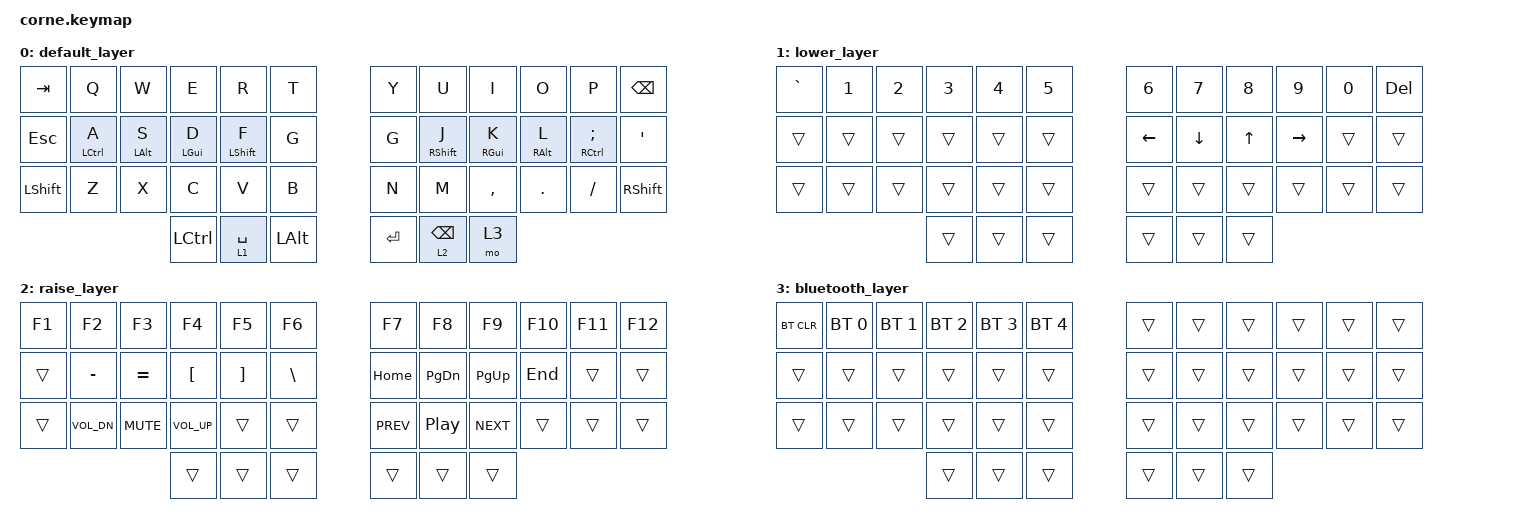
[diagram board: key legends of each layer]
#include <behaviors.dtsi>
#include <dt-bindings/zmk/keys.h>
#include <dt-bindings/zmk/bt.h>

/ {
    keymap {
        compatible = "zmk,keymap";

        default_layer {
            compatible = "zmk,keymap-layer";
            bindings = <
// -----------------------------------------------------------------------------------------
// |  TAB  |  Q  |  W  |  E  |  R  |  T  |   |  Y  |  U  |  I  |  O  |  P  | BSPC  |
// |  ESC  |  A  |  S  |  D  |  F  |  G  |   |  H  |  J  |  K  |  L  |  ;  |  '    |
// | SHIFT |  Z  |  X  |  C  |  V  |  B  |   |  N  |  M  |  ,  |  .  |  /  | SHIFT |
//                    | CTRL | LWR/SPC | ALT |   | ENT | RSHF| GUI |
&kp TAB   &kp Q        &kp W        &kp E         &kp R         &kp T             &kp Y         &kp U         &kp I         &kp O        &kp P           &kp BSPC
&kp ESC   &mt LCTRL A  &mt LALT S   &mt LGUI D    &mt LSHFT F   &kp G             &kp G         &mt RSHFT J   &mt RGUI K    &mt RALT L   &mt RCTRL SEMI  &kp SQT
&kp LSHFT &kp Z        &kp X        &kp C         &kp V         &kp B             &kp N         &kp M         &kp COMMA     &kp DOT      &kp SLASH       &kp RSHFT
                                    &kp LCTRL     &lt 1 SPACE   &kp LALT          &kp ENTER     &lt 2 BSPC    &mo 3
            >;
        };

        lower_layer {
            compatible = "zmk,keymap-layer";
            bindings = <
// -----------------------------------------------------------------------------------------
// |  ~    |  1  |  2  |  3  |  4  |  5  |   |  6  |  7  |  8  |  9  |  0  |  DEL  |
// |       |     |     |     |     |     |   | LFT | DWN |  UP | RGT |     |       |
// |       |     |     |     |     |     |   |     |     |     |     |     |       |
//                    |     |     |     |   |     |     |     |
&kp GRAVE  &kp N1       &kp N2       &kp N3       &kp N4       &kp N5             &kp N6       &kp N7       &kp N8       &kp N9       &kp N0       &kp DEL
&trans     &trans       &trans       &trans       &trans       &trans             &kp LEFT     &kp DOWN     &kp UP       &kp RIGHT    &trans       &trans
&trans     &trans       &trans       &trans       &trans       &trans             &trans       &trans       &trans       &trans       &trans       &trans
                                     &trans       &trans       &trans             &trans       &trans       &trans
            >;
        };

        raise_layer {
            compatible = "zmk,keymap-layer";
            bindings = <
// -----------------------------------------------------------------------------------------
// |  F1   |  F2  |  F3  |  F4  |  F5  |  F6  |   |  F7  |  F8  |  F9  |  F10 |  F11 |  F12 |
// |       |  -   |  =   |  [   |  ]   |  \   |   | HOME | PG_DN| PG_UP| END  |      |      |
// |       |VOLDN | MUTE | VOLUP|     |      |   | PREV |  PP  | NEXT |      |      |      |
//                       |      |      |      |   |      |      |      |
&kp F1     &kp F2       &kp F3       &kp F4       &kp F5       &kp F6             &kp F7       &kp F8       &kp F9       &kp F10      &kp F11      &kp F12
&trans     &kp MINUS    &kp EQUAL    &kp LBKT     &kp RBKT     &kp BSLH           &kp HOME     &kp PG_DN    &kp PG_UP    &kp END      &trans       &trans
&trans     &kp C_VOL_DN &kp C_MUTE   &kp C_VOL_UP &trans       &trans             &kp C_PREV   &kp C_PP     &kp C_NEXT   &trans       &trans       &trans
                                     &trans       &trans       &trans             &trans       &trans       &trans
            >;
        };

        bluetooth_layer {
            compatible = "zmk,keymap-layer";
            bindings = <
// -----------------------------------------------------------------------------------------
// | BT_CLR| BT_0 | BT_1 | BT_2 | BT_3 | BT_4 |   |      |      |      |      |      |      |
// |       |     |     |     |     |     |   |      |      |      |      |      |      |
// |       |     |     |     |     |     |   |      |      |      |      |      |      |
//                       |      |      |      |   |      |      |      |
&bt BT_CLR &bt BT_SEL 0 &bt BT_SEL 1 &bt BT_SEL 2 &bt BT_SEL 3 &bt BT_SEL 4   &trans &trans &trans &trans &trans &trans
&trans     &trans       &trans       &trans       &trans       &trans         &trans &trans &trans &trans &trans &trans
&trans     &trans       &trans       &trans       &trans       &trans         &trans &trans &trans &trans &trans &trans
                                     &trans       &trans       &trans         &trans &trans &trans
            >;
        };
    };
};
